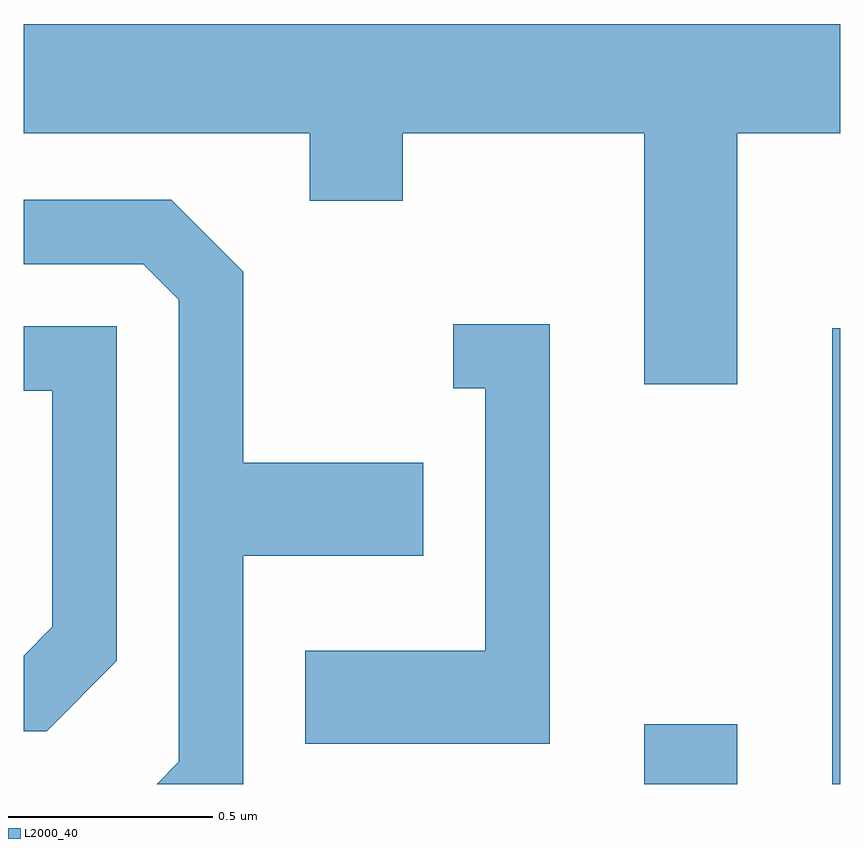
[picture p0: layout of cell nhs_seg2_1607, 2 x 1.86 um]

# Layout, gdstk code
import gdstk
lib = gdstk.Library(unit=1e-6, precision=1e-09)
def R(c, l, rs):  # rectangles x0, y0, x1, y1
    for r in rs: c.add(gdstk.rectangle(r[:2], r[2:], *l))
def P(c, l, *ps):  # polygons
    for p in ps: c.add(gdstk.Polygon(p, *l))
L2000_40 = (2000, 40)

nhs_seg2_1607 = lib.new_cell('nhs_seg2_1607')
R(nhs_seg2_1607, L2000_40, [(198.131,1077.802,198.359,1077.949), (198.591,1077.802,198.611,1078.919)])
P(nhs_seg2_1607, L2000_40, [(198.359,1079.396),(198.611,1079.396),(198.611,1079.664),(196.611,1079.664),(196.611,1079.396),(197.311,1079.396),(197.311,1079.231),(197.539,1079.231),(197.539,1079.396),(198.131,1079.396),(198.131,1078.781),(198.359,1078.781)],
  [(197.149,1078.361),(197.589,1078.361),(197.589,1078.589),(197.149,1078.589),(197.149,1079.057),(196.972,1079.234),(196.611,1079.234),(196.611,1079.076),(196.904,1079.076),(196.991,1078.989),(196.991,1077.857),(196.937,1077.802),(197.149,1077.802)],
  [(197.899,1078.929),(197.663,1078.929),(197.663,1078.771),(197.741,1078.771),(197.741,1078.129),(197.301,1078.129),(197.301,1077.901),(197.899,1077.901)],
  [(196.839,1078.104),(196.839,1078.924),(196.611,1078.924),(196.611,1078.766),(196.681,1078.766),(196.681,1078.187),(196.611,1078.116),(196.611,1077.931),(196.667,1077.931)])

lib.write_gds('nhs_seg2_1607.gds')
